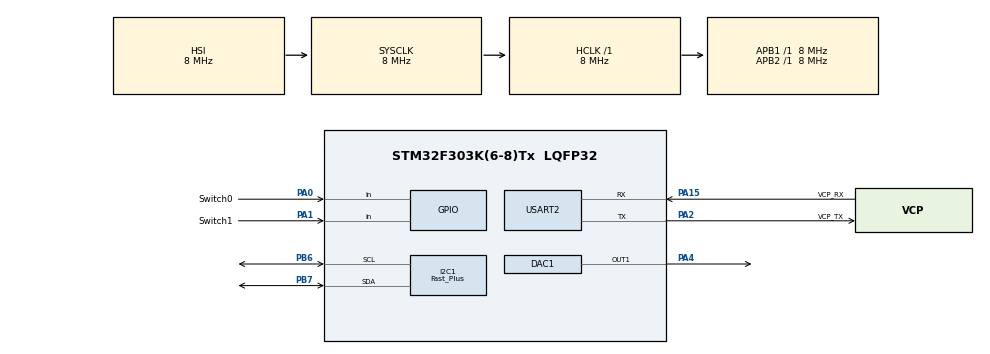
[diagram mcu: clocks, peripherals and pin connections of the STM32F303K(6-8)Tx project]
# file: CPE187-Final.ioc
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DAC1.DAC_Trigger=DAC_TRIGGER_T2_TRGO
Dma.DAC1_CH1.0.Direction=DMA_MEMORY_TO_PERIPH
Dma.DAC1_CH1.0.Instance=DMA1_Channel3
Dma.DAC1_CH1.0.MemDataAlignment=DMA_MDATAALIGN_BYTE
Dma.DAC1_CH1.0.MemInc=DMA_MINC_ENABLE
Dma.DAC1_CH1.0.Mode=DMA_CIRCULAR
Dma.DAC1_CH1.0.PeriphDataAlignment=DMA_PDATAALIGN_BYTE
Dma.DAC1_CH1.0.PeriphInc=DMA_PINC_DISABLE
Dma.DAC1_CH1.0.Priority=DMA_PRIORITY_LOW
Dma.Request0=DAC1_CH1
FREERTOS.Tasks01=defaultTask,24,128,StartDefaultTask,Default,NULL,Dynamic,NULL,NULL;ScreenUpdate,8,128,StartScreenUpdate,Default,NULL,Dynamic,NULL,NULL
FREERTOS.configUSE_NEWLIB_REENTRANT=1
I2C1.I2C_Speed_Mode=I2C_Fast_Plus
I2C1.Timing=0x00100001
Mcu.Family=STM32F3
Mcu.Name=STM32F303K(6-8)Tx
Mcu.Package=LQFP32
NVIC.DMA1_Channel3_IRQn=true\:5\:0\:false\:false\:true\:true\:false\:true\:true
NVIC.PriorityGroup=NVIC_PRIORITYGROUP_4
NVIC.TIM6_DAC1_IRQn=true\:5\:0\:false\:false\:true\:true\:false\:true\:true
NVIC.TimeBase=TIM6_DAC1_IRQn
NVIC.TimeBaseIP=TIM6
PA0.GPIO_Label=Switch0
PA0.GPIO_Mode=GPIO_MODE_INPUT
PA0.GPIO_PuPd=GPIO_PULLUP
PA0.Signal=GPIO_Input
PA1.GPIO_Label=Switch1
PA1.GPIO_Mode=GPIO_MODE_INPUT
PA1.GPIO_PuPd=GPIO_PULLUP
PA1.Signal=GPIO_Input
PA13.GPIO_Label=SWDIO
PA13.Mode=Serial_Wire
PA13.Signal=SYS_JTMS-SWDIO
PA14.GPIO_Label=SWCLK
PA14.Mode=Serial_Wire
PA14.Signal=SYS_JTCK-SWCLK
PA15.GPIO_Label=VCP_RX
PA15.Mode=Asynchronous
PA15.Signal=USART2_RX
PA2.GPIO_Label=VCP_TX
PA2.Mode=Asynchronous
PA2.Signal=USART2_TX
PA4.Signal=COMP_DAC11_group
PB6.Mode=I2C
PB6.Signal=I2C1_SCL
PB7.Mode=I2C
PB7.Signal=I2C1_SDA
PF0\ /\ OSC_IN.GPIO_Label=MCO
PF0\ /\ OSC_IN.Mode=HSE-External-Clock-Source
PF0\ /\ OSC_IN.Signal=RCC_OSC_IN
ProjectManager.HeapSize=0x200
ProjectManager.StackSize=0x400
ProjectManager.TargetToolchain=STM32CubeIDE
RCC.AHBFreq_Value=8000000
RCC.APB1Freq_Value=8000000
RCC.APB2Freq_Value=8000000
RCC.CortexFreq_Value=8000000
RCC.HSE_VALUE=8000000
RCC.HSI_VALUE=8000000
RCC.SYSCLKFreq_VALUE=8000000
SH.COMP_DAC11_group.0=DAC1_OUT1,DAC_OUT1
TIM2.Period=79
USART2.VirtualMode-Asynchronous=VM_ASYNC
VP_FREERTOS_VS_CMSIS_V2.Mode=CMSIS_V2
VP_SYS_VS_tim6.Mode=TIM6
VP_TIM2_VS_ClockSourceINT.Mode=Internal
board=NUCLEO-F303K8

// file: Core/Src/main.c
/* USER CODE BEGIN Header */
/**
  ******************************************************************************
  * @file           : main.c
  * @brief          : Main program body
  ******************************************************************************
  * @attention
  *
  * Copyright (c) 2025 STMicroelectronics.
  * All rights reserved.
  *
  * This software is licensed under terms that can be found in the LICENSE file
  * in the root directory of this software component.
  * If no LICENSE file comes with this software, it is provided AS-IS.
  *
  ******************************************************************************
  */
/* USER CODE END Header */
#include "main.h"
#include "cmsis_os.h"

/* USER CODE BEGIN Includes */
#include "ssd1306.h"
/* USER CODE END Includes */

DAC_HandleTypeDef hdac1;
DMA_HandleTypeDef hdma_dac1_ch1;

I2C_HandleTypeDef hi2c1;

TIM_HandleTypeDef htim2;

UART_HandleTypeDef huart2;

/* Definitions for defaultTask */
osThreadId_t defaultTaskHandle;
const osThreadAttr_t defaultTask_attributes = {
  .name = "defaultTask",
  .stack_size = 128 * 4,
  .priority = (osPriority_t) osPriorityNormal,
};
/* Definitions for ScreenUpdate */
osThreadId_t ScreenUpdateHandle;
const osThreadAttr_t ScreenUpdate_attributes = {
  .name = "ScreenUpdate",
  .stack_size = 128 * 4,
  .priority = (osPriority_t) osPriorityLow,
};

void SystemClock_Config(void);
static void MX_GPIO_Init(void);
static void MX_DMA_Init(void);
static void MX_USART2_UART_Init(void);
static void MX_I2C1_Init(void);
static void MX_DAC1_Init(void);
static void MX_TIM2_Init(void);
void StartDefaultTask(void *argument);
void StartScreenUpdate(void *argument);

/* USER CODE BEGIN 0 */
// pre-generated waveform
static const uint8_t sawL[] = {
		 222,  220,  218,  217,  215,  213,  211,  210,
		 208,  206,  205,  203,  201,  200,  198,  196,
		 195,  193,  191,  189,  188,  186,  184,  183,
		 181,  179,  178,  176,  174,  173,  171,  169,
		 168,  166,  164,  162,  161,  159,  157,  156,
		 154,  152,  151,  149,  147,  146,  144,  142,
		 141,  139,  137,  135,  134,  132,  130,  129,
		 127,  125,  124,  122,  120,  119,  117,  115,
		 114,  112,  110,  108,  107,  105,  103,  102,
		 100,   98,   97,   95,   93,   92,   90,   88,
		  87,   85,   83,   81,   80,   78,   76,   75,
		  73,   71,   70,   68,   66,   65,   63,   61,
		  59,   58,   56,   54,   53,   51,   49,   48,
		  46,   44,   43,   41,   39,   38,   36,   34,
		  32,   31,   29,   27,   26,   24,   22,   21,
		  19,   17,   16,   14,   12,   11,    9,    7

		};

uint8_t playing=0;
uint8_t select=4;
/* USER CODE END 0 */

int main(void)
{

  /* MCU Configuration--------------------------------------------------------*/

  /* Reset of all peripherals, Initializes the Flash interface and the Systick. */
  HAL_Init();

  /* Configure the system clock */
  SystemClock_Config();

  /* Initialize all configured peripherals */
  MX_GPIO_Init();
  MX_DMA_Init();
  MX_USART2_UART_Init();
  MX_I2C1_Init();
  MX_DAC1_Init();
  MX_TIM2_Init();

  /* Init scheduler */
  osKernelInitialize();

  /* Create the thread(s) */
  /* creation of defaultTask */
  defaultTaskHandle = osThreadNew(StartDefaultTask, NULL, &defaultTask_attributes);

  /* creation of ScreenUpdate */
  ScreenUpdateHandle = osThreadNew(StartScreenUpdate, NULL, &ScreenUpdate_attributes);

  /* Start scheduler */
  osKernelStart();

  /* We should never get here as control is now taken by the scheduler */

  /* Infinite loop */
  while (1)
  {

  }
}

void SystemClock_Config(void)
{
  RCC_OscInitTypeDef RCC_OscInitStruct = {0};
  RCC_ClkInitTypeDef RCC_ClkInitStruct = {0};
  RCC_PeriphCLKInitTypeDef PeriphClkInit = {0};

  /** Initializes the RCC Oscillators according to the specified parameters
  * in the RCC_OscInitTypeDef structure.
  */
  RCC_OscInitStruct.OscillatorType = RCC_OSCILLATORTYPE_HSI;
  RCC_OscInitStruct.HSIState = RCC_HSI_ON;
  RCC_OscInitStruct.HSICalibrationValue = RCC_HSICALIBRATION_DEFAULT;
  RCC_OscInitStruct.PLL.PLLState = RCC_PLL_NONE;
  if (HAL_RCC_OscConfig(&RCC_OscInitStruct) != HAL_OK)
  {
    Error_Handler();
  }

  /** Initializes the CPU, AHB and APB buses clocks
  */
  RCC_ClkInitStruct.ClockType = RCC_CLOCKTYPE_HCLK|RCC_CLOCKTYPE_SYSCLK
                              |RCC_CLOCKTYPE_PCLK1|RCC_CLOCKTYPE_PCLK2;
  RCC_ClkInitStruct.SYSCLKSource = RCC_SYSCLKSOURCE_HSI;
  RCC_ClkInitStruct.AHBCLKDivider = RCC_SYSCLK_DIV1;
  RCC_ClkInitStruct.APB1CLKDivider = RCC_HCLK_DIV1;
  RCC_ClkInitStruct.APB2CLKDivider = RCC_HCLK_DIV1;

  if (HAL_RCC_ClockConfig(&RCC_ClkInitStruct, FLASH_LATENCY_0) != HAL_OK)
  {
    Error_Handler();
  }
  PeriphClkInit.PeriphClockSelection = RCC_PERIPHCLK_I2C1;
  PeriphClkInit.I2c1ClockSelection = RCC_I2C1CLKSOURCE_HSI;
  if (HAL_RCCEx_PeriphCLKConfig(&PeriphClkInit) != HAL_OK)
  {
    Error_Handler();
  }
}

static void MX_DAC1_Init(void)
{

  DAC_ChannelConfTypeDef sConfig = {0};

  /** DAC Initialization
  */
  hdac1.Instance = DAC1;
  if (HAL_DAC_Init(&hdac1) != HAL_OK)
  {
    Error_Handler();
  }

  /** DAC channel OUT1 config
  */
  sConfig.DAC_Trigger = DAC_TRIGGER_T2_TRGO;
  sConfig.DAC_OutputBuffer = DAC_OUTPUTBUFFER_ENABLE;
  if (HAL_DAC_ConfigChannel(&hdac1, &sConfig, DAC_CHANNEL_1) != HAL_OK)
  {
    Error_Handler();
  }

}

static void MX_I2C1_Init(void)
{

  hi2c1.Instance = I2C1;
  hi2c1.Init.Timing = 0x00100001;
  hi2c1.Init.OwnAddress1 = 0;
  hi2c1.Init.AddressingMode = I2C_ADDRESSINGMODE_7BIT;
  hi2c1.Init.DualAddressMode = I2C_DUALADDRESS_DISABLE;
  hi2c1.Init.OwnAddress2 = 0;
  hi2c1.Init.OwnAddress2Masks = I2C_OA2_NOMASK;
  hi2c1.Init.GeneralCallMode = I2C_GENERALCALL_DISABLE;
  hi2c1.Init.NoStretchMode = I2C_NOSTRETCH_DISABLE;
  if (HAL_I2C_Init(&hi2c1) != HAL_OK)
  {
    Error_Handler();
  }

  /** Configure Analogue filter
  */
  if (HAL_I2CEx_ConfigAnalogFilter(&hi2c1, I2C_ANALOGFILTER_ENABLE) != HAL_OK)
  {
    Error_Handler();
  }

  /** Configure Digital filter
  */
  if (HAL_I2CEx_ConfigDigitalFilter(&hi2c1, 0) != HAL_OK)
  {
    Error_Handler();
  }

  /** I2C Fast mode Plus enable
  */
  __HAL_SYSCFG_FASTMODEPLUS_ENABLE(I2C_FASTMODEPLUS_I2C1);

}

static void MX_TIM2_Init(void)
{

  TIM_ClockConfigTypeDef sClockSourceConfig = {0};
  TIM_MasterConfigTypeDef sMasterConfig = {0};

  htim2.Instance = TIM2;
  htim2.Init.Prescaler = 0;
  htim2.Init.CounterMode = TIM_COUNTERMODE_UP;
  htim2.Init.Period = 79;
  htim2.Init.ClockDivision = TIM_CLOCKDIVISION_DIV1;
  htim2.Init.AutoReloadPreload = TIM_AUTORELOAD_PRELOAD_DISABLE;
  if (HAL_TIM_Base_Init(&htim2) != HAL_OK)
  {
    Error_Handler();
  }
  sClockSourceConfig.ClockSource = TIM_CLOCKSOURCE_INTERNAL;
  if (HAL_TIM_ConfigClockSource(&htim2, &sClockSourceConfig) != HAL_OK)
  {
    Error_Handler();
  }
  sMasterConfig.MasterOutputTrigger = TIM_TRGO_RESET;
  sMasterConfig.MasterSlaveMode = TIM_MASTERSLAVEMODE_DISABLE;
  if (HAL_TIMEx_MasterConfigSynchronization(&htim2, &sMasterConfig) != HAL_OK)
  {
    Error_Handler();
  }

}

static void MX_USART2_UART_Init(void)
{

  huart2.Instance = USART2;
  huart2.Init.BaudRate = 38400;
  huart2.Init.WordLength = UART_WORDLENGTH_8B;
  huart2.Init.StopBits = UART_STOPBITS_1;
  huart2.Init.Parity = UART_PARITY_NONE;
  huart2.Init.Mode = UART_MODE_TX_RX;
  huart2.Init.HwFlowCtl = UART_HWCONTROL_NONE;
  huart2.Init.OverSampling = UART_OVERSAMPLING_16;
  huart2.Init.OneBitSampling = UART_ONE_BIT_SAMPLE_DISABLE;
  huart2.AdvancedInit.AdvFeatureInit = UART_ADVFEATURE_NO_INIT;
  if (HAL_UART_Init(&huart2) != HAL_OK)
  {
    Error_Handler();
  }

}

static void MX_DMA_Init(void)
{

  /* DMA controller clock enable */
  __HAL_RCC_DMA1_CLK_ENABLE();

  /* DMA interrupt init */
  /* DMA1_Channel3_IRQn interrupt configuration */
  HAL_NVIC_SetPriority(DMA1_Channel3_IRQn, 5, 0);
  HAL_NVIC_EnableIRQ(DMA1_Channel3_IRQn);

}

static void MX_GPIO_Init(void)
{
  GPIO_InitTypeDef GPIO_InitStruct = {0};

  /* GPIO Ports Clock Enable */
  __HAL_RCC_GPIOF_CLK_ENABLE();
  __HAL_RCC_GPIOA_CLK_ENABLE();
  __HAL_RCC_GPIOB_CLK_ENABLE();

  /*Configure GPIO pins : Switch0_Pin Switch1_Pin */
  GPIO_InitStruct.Pin = Switch0_Pin|Switch1_Pin;
  GPIO_InitStruct.Mode = GPIO_MODE_INPUT;
  GPIO_InitStruct.Pull = GPIO_PULLUP;
  HAL_GPIO_Init(GPIOA, &GPIO_InitStruct);

}

void StartDefaultTask(void *argument)
{
  /* USER CODE BEGIN 5 */
	HAL_DAC_Start_DMA(&hdac1, DAC_CHANNEL_1, (uint32_t*) sawL, 128, DAC_ALIGN_8B_R);
  /* Infinite loop */
  for(;;)
  {
	  // timer set to count to 80 with 8Mhz ref means 1k
	  const uint16_t ARR[]={
			  5, // C4
			  10, // D4
			  15   // E4
	  };
	  if(!HAL_GPIO_ReadPin(GPIOA, GPIO_PIN_0)){
		  select=0;
		  if(playing == 0){
			  HAL_TIM_Base_Start(&htim2);
			  __HAL_TIM_SET_AUTORELOAD(&htim2, ARR[select]);
		  }
		  playing=1;
	  }
	  if(!HAL_GPIO_ReadPin(GPIOA, GPIO_PIN_1)){
		  select=1;
		  if(playing == 0){
			  HAL_TIM_Base_Start(&htim2);
			  __HAL_TIM_SET_AUTORELOAD(&htim2, ARR[select]);
		  }
		  playing=1;
	  }
	  else{
		  select=4;
		  playing=0;
	  }

	  if(playing == 1){
		  HAL_TIM_GenerateEvent(&htim2, TIM_EVENTSOURCE_UPDATE);
	  }
	  else{
		  HAL_TIM_Base_Stop(&htim2);
	  }
    osDelay(10);
  }
  /* USER CODE END 5 */
}

void StartScreenUpdate(void *argument)
{
  /* USER CODE BEGIN StartScreenUpdate */
	ssd1306_Init();
	char text[20] = {0};
	ssd1306_SetCursor(1, 1);
	ssd1306_WriteString("Playing:", Font_7x10, White);
	ssd1306_SetCursor(1, 12);
	ssd1306_WriteString("Selected:", Font_7x10, White);
	ssd1306_UpdateScreen();
  /* Infinite loop */
  for(;;)
  {
	  ssd1306_SetCursor(77, 1);
	  if(playing){
		  ssd1306_WriteString("True", Font_7x10, White);
	  }
	  else{
		  ssd1306_WriteString("False", Font_7x10, White);
	  }
	  ssd1306_SetCursor(77, 12);

	  switch(select){
	  case 0:
		  ssd1306_WriteString("0", Font_7x10, White);
		  break;
	  case 1:
		  ssd1306_WriteString("1", Font_7x10, White);
		  break;
	  case 3:
		  ssd1306_WriteString("2", Font_7x10, White);
		  break;
	  default:
		  ssd1306_WriteString("None", Font_7x10, White);
	  }

	  ssd1306_UpdateScreen();
	  ssd1306_FillRectangle(70, 1, 112, 19, Black);
	  osDelay(10);
  }
  /* USER CODE END StartScreenUpdate */
}

void HAL_TIM_PeriodElapsedCallback(TIM_HandleTypeDef *htim)
{
  if (htim->Instance == TIM6)
  {
    HAL_IncTick();
  }
}

void Error_Handler(void)
{
  __disable_irq();
  while (1)
  {
  }
}
